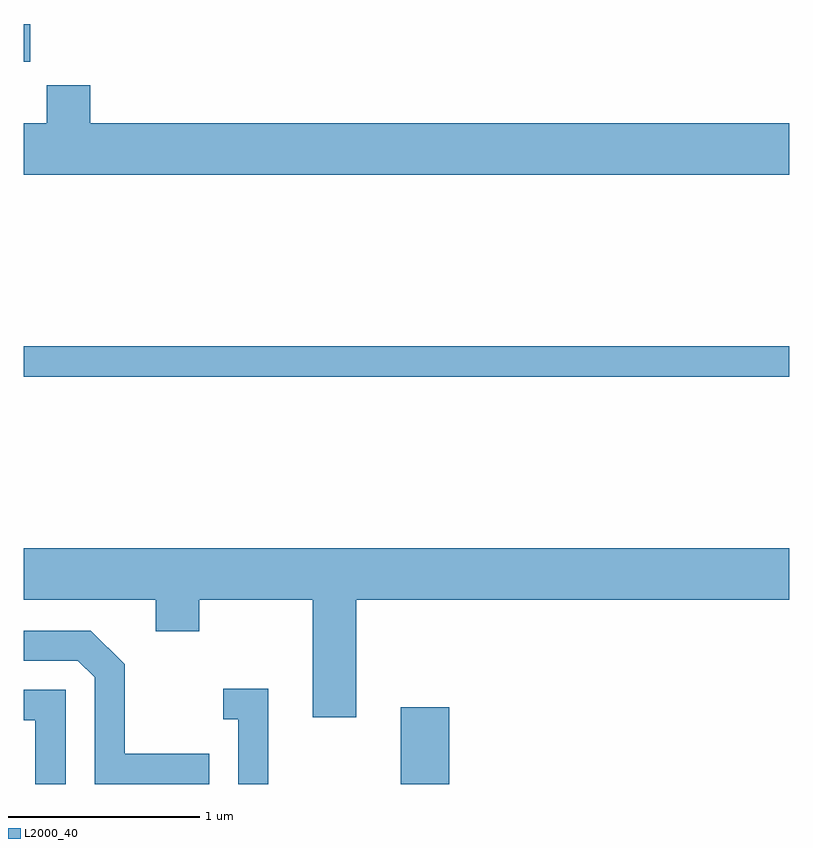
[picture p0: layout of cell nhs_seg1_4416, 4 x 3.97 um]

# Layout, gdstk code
import gdstk
lib = gdstk.Library(unit=1e-6, precision=1e-09)
def R(c, l, rs):  # rectangles x0, y0, x1, y1
    for r in rs: c.add(gdstk.rectangle(r[:2], r[2:], *l))
def P(c, l, *ps):  # polygons
    for p in ps: c.add(gdstk.Polygon(p, *l))
L2000_40 = (2000, 40)

nhs_seg1_4416 = lib.new_cell('nhs_seg1_4416')
R(nhs_seg1_4416, L2000_40, [(319.581,909.712,319.834,910.114), (317.611,911.841,321.611,911.999), (317.611,913.486,317.644,913.684)])
P(nhs_seg1_4416, L2000_40, [(321.611,913.164),(317.959,913.164),(317.959,913.364),(317.731,913.364),(317.731,913.164),(317.611,913.164),(317.611,912.896),(321.611,912.896)],
  [(319.349,910.676),(321.611,910.676),(321.611,910.944),(317.611,910.944),(317.611,910.676),(318.301,910.676),(318.301,910.511),(318.529,910.511),(318.529,910.676),(319.121,910.676),(319.121,910.061),(319.349,910.061)],
  [(318.579,909.869),(318.139,909.869),(318.139,910.337),(317.962,910.514),(317.611,910.514),(317.611,910.356),(317.894,910.356),(317.981,910.269),(317.981,909.712),(318.579,909.712)],
  [(318.889,910.209),(318.653,910.209),(318.653,910.051),(318.731,910.051),(318.731,909.712),(318.889,909.712)],
  [(317.829,910.204),(317.611,910.204),(317.611,910.046),(317.671,910.046),(317.671,909.712),(317.829,909.712)])

lib.write_gds('nhs_seg1_4416.gds')
